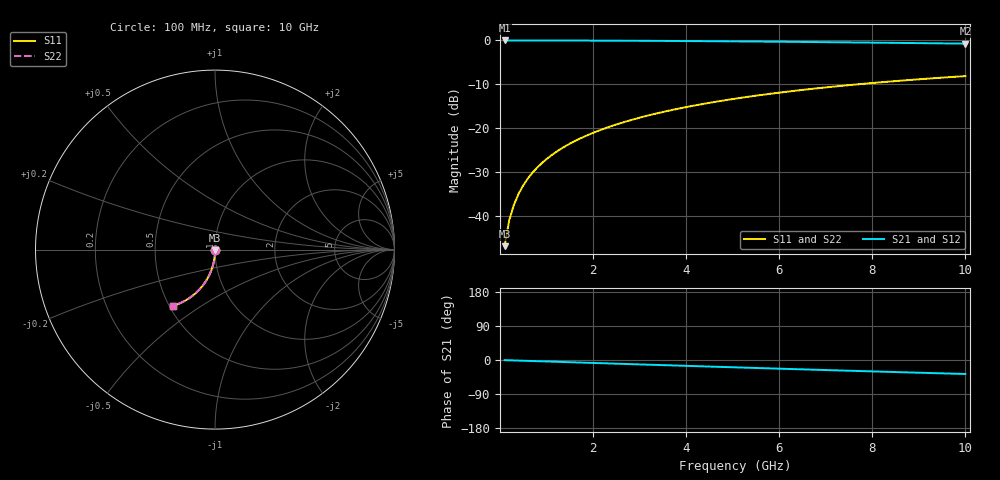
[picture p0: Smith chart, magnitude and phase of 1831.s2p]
# Hz S RI R 50.00
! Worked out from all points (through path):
!   100 points, 100 MHz to 10 GHz, reference 50 ohm
!   highest |S21| = -0.01 dB at 100 MHz (marker M1); lowest = -0.7 dB at 10 GHz (marker M2)
!   group delay of S21, straight-line fit = 10.3 ps
!   lowest |S11| = -47.0 dB at 100 MHz (marker M3), VSWR 1.01, Z = 50.1 - j0.443 ohm
!   |S11| at or under -10 dB: start of sweep to 7.712 GHz
!   |S22| runs from -47.0 to -8.2 dB; largest |S21 - S12| = 0
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1e8  0.000644 -0.00442  0.9993 -0.00678  0.9993 -0.00678  0.000644 -0.00442
2e8  0.000553 -0.00884  0.9992 -0.0136  0.9992 -0.0136  0.000553 -0.00884
3e8  0.000401 -0.0133  0.999 -0.0203  0.999 -0.0203  0.000401 -0.0133
4e8  0.000189 -0.0177  0.9988 -0.0271  0.9988 -0.0271  0.000189 -0.0177
5e8  -8.36e-05 -0.0221  0.9985 -0.0339  0.9985 -0.0339  -8.36e-05 -0.0221
6e8  -0.000416 -0.0265  0.9981 -0.0406  0.9981 -0.0406  -0.000416 -0.0265
7e8  -0.000808 -0.0309  0.9977 -0.0474  0.9977 -0.0474  -0.000808 -0.0309
8e8  -0.00126 -0.0353  0.9972 -0.0542  0.9972 -0.0542  -0.00126 -0.0353
9e8  -0.00177 -0.0397  0.9966 -0.0609  0.9966 -0.0609  -0.00177 -0.0397
1.1e9  -0.00297 -0.0484  0.9953 -0.0744  0.9953 -0.0744  -0.00297 -0.0484
1.4e9  -0.00522 -0.0615  0.9928 -0.0945  0.9928 -0.0945  -0.00522 -0.0615
1.8e9  -0.00902 -0.0787  0.9886 -0.1211  0.9886 -0.1211  -0.00902 -0.0787
2.1e9  -0.0125 -0.0914  0.9849 -0.141  0.9849 -0.141  -0.0125 -0.0914
2.5e9  -0.0179 -0.1081  0.979 -0.1671  0.979 -0.1671  -0.0179 -0.1081
2.9e9  -0.0241 -0.1244  0.9721 -0.1929  0.9721 -0.1929  -0.0241 -0.1244
3.4e9  -0.0331 -0.1442  0.9622 -0.2246  0.9622 -0.2246  -0.0331 -0.1442
4.2e9  -0.05 -0.1744  0.9435 -0.2737  0.9435 -0.2737  -0.05 -0.1744
5.1e9  -0.0725 -0.2055  0.9187 -0.3263  0.9187 -0.3263  -0.0725 -0.2055
5.9e9  -0.095 -0.2305  0.8936 -0.3703  0.8936 -0.3703  -0.095 -0.2305
6.7e9  -0.1197 -0.2527  0.866 -0.4117  0.866 -0.4117  -0.1197 -0.2527
8.4e9  -0.1771 -0.2902  0.8011 -0.4902  0.8011 -0.4902  -0.1771 -0.2902
1e10  -0.2347 -0.313  0.7346 -0.5519  0.7346 -0.5519  -0.2347 -0.313
